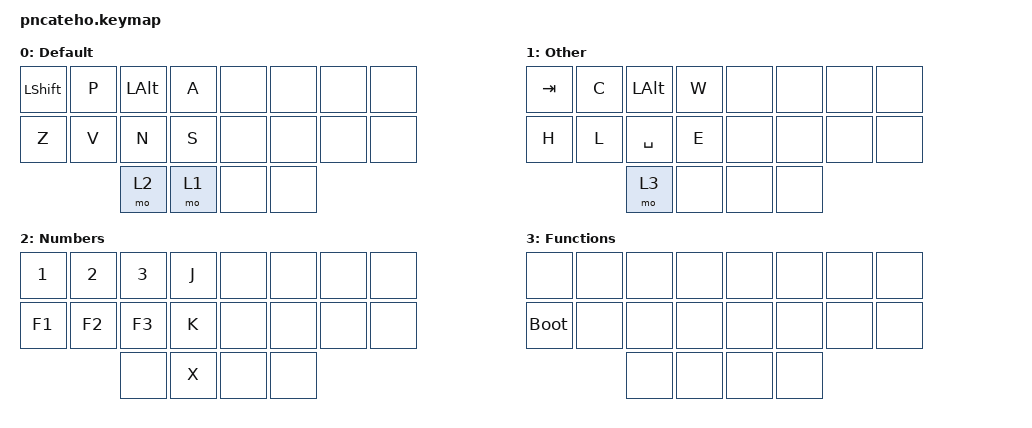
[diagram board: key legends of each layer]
#include <behaviors.dtsi>
#include <dt-bindings/zmk/keys.h>
#include <dt-bindings/zmk/bt.h>

/ {
    keymap {
        compatible = "zmk,keymap";
        default_layer {
            label = "Default";
            bindings = <
                &kp LSHFT  &kp P   &kp LALT    &kp A        &none &none &none &none
                &kp Z      &kp V   &kp N       &kp S        &none &none &none &none
                                   &mo 2       &mo 1        &none &none
            >;
        };

        other_layer {
            label = "Other";
            bindings = <
                &kp TAB    &kp C    &kp LALT    &kp W       &none &none &none &none
                &kp H      &kp L    &kp SPACE   &kp E       &none &none &none &none
                                    &mo 3       &none       &none &none
            >;
        };

        num_layer {
            label = "Numbers";
            bindings = <
                &kp N1   &kp N2   &kp N3   &kp J       &none &none &none &none
                &kp F1   &kp F2   &kp F3   &kp K       &none &none &none &none
                                  &none    &kp X       &none &none 
            >;
        };

        func_layer {
            label = "Functions";
            bindings = <
                &none        &none   &none   &none        &none &none &none &none
                &bootloader  &none   &none   &none        &none &none &none &none
                                     &none   &none        &none &none
            >;
        };
    };

    combos {
        compatible = "zmk,combos";

        combo-ls-p-la {
            bindings = <&kp M>;
            key-positions = <0 1 2>;
            layers = <0>;
        };
        
        combo-u {
            bindings = <&kp U>;
            key-positions = <8 9>;
            layers = <0>;
        };

        combo-esc {
            bindings = <&kp ESC>;
            key-positions = <0 8>;
            layers = <0>;
        };
        combo-ctrl {
            bindings = <&kp LCTRL>;
            key-positions = <0 1 2>;
            layers = <1>;
        };
        
        combo-q {
            bindings = <&kp Q>;
            key-positions = <2 3>;
            layers = <2>;
        };

        combo-f1-f2 {
            bindings = <&kp F4>;
            key-positions = <8 9>;
            layers = <2>;
        };

        combo-n4 {
            bindings = <&kp N4>;
            key-positions = <0 1>;
            layers = <2>;
        };

        combo-n5 {
            bindings = <&kp N5>;
            key-positions = <1 2>;
            layers = <2>;
        };
    };
};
